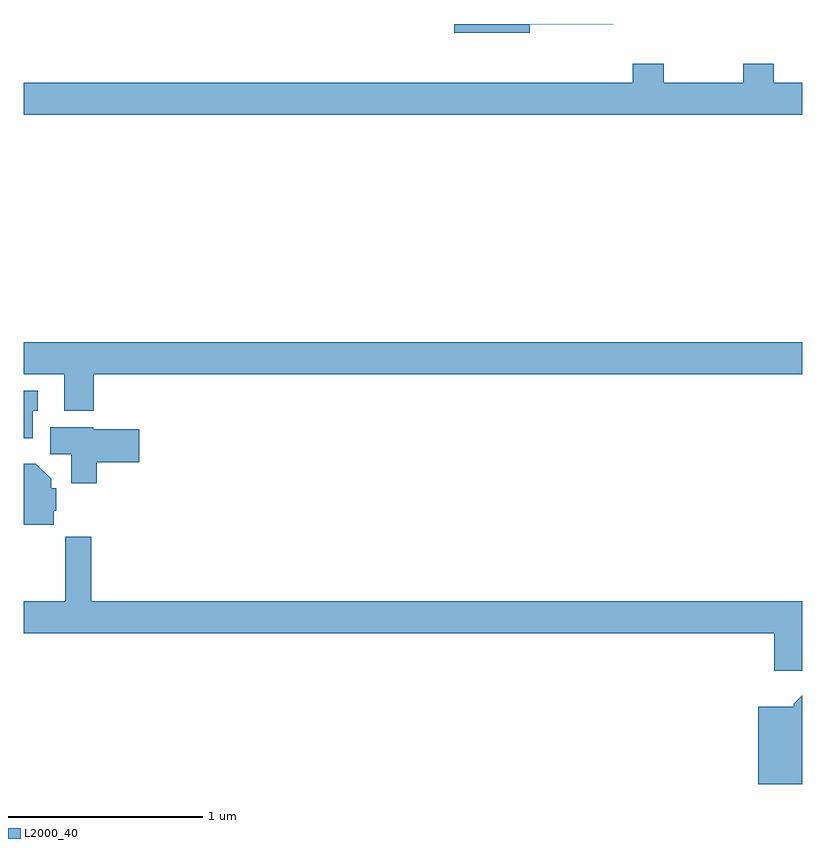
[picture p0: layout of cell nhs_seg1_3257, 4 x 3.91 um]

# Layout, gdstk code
import gdstk
lib = gdstk.Library(unit=1e-6, precision=1e-09)
def P(c, l, *ps):  # polygons
    for p in ps: c.add(gdstk.Polygon(p, *l))
L2000_40 = (2000, 40)

nhs_seg1_3257 = lib.new_cell('nhs_seg1_3257')
P(nhs_seg1_3257, L2000_40, [(289.6,552.198),(290.03,552.198),(290.03,552.199),(289.212,552.199),(289.212,552.155),(289.6,552.155)],
  [(291,551.896),(290.853,551.896),(290.853,551.995),(290.698,551.995),(290.698,551.896),(290.289,551.896),(290.289,551.995),(290.129,551.995),(290.129,551.896),(287,551.896),(287,551.732),(291,551.732)],
  [(287.36,550.4),(291,550.4),(291,550.564),(287,550.564),(287,550.4),(287.207,550.4),(287.207,550.211),(287.36,550.211)],
  [(287.047,550.212),(287.071,550.212),(287.071,550.315),(287,550.315),(287,550.07),(287.047,550.07)],
  [(287.375,549.947),(287.593,549.947),(287.593,550.117),(287.358,550.117),(287.358,550.126),(287.135,550.126),(287.135,549.988),(287.243,549.988),(287.243,549.84),(287.375,549.84)],
  [(287.153,549.699),(287.166,549.699),(287.166,549.813),(287.14,549.813),(287.14,549.862),(287.062,549.94),(287,549.94),(287,549.626),(287.153,549.626)],
  [(291,549.232),(287.348,549.232),(287.348,549.565),(287.212,549.565),(287.212,549.232),(287,549.232),(287,549.068),(290.855,549.068),(290.855,548.877),(291,548.877)],
  [(291,548.75),(290.957,548.707),(290.957,548.692),(290.774,548.692),(290.774,548.294),(291,548.294)])

lib.write_gds('nhs_seg1_3257.gds')
